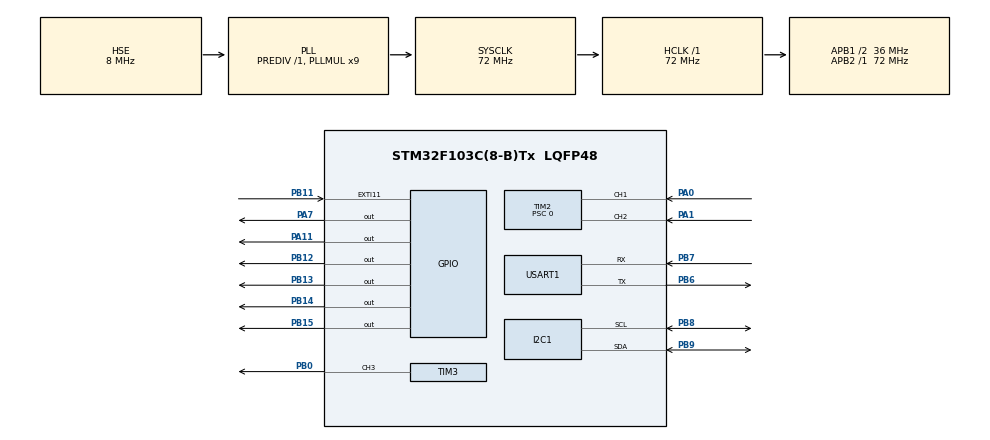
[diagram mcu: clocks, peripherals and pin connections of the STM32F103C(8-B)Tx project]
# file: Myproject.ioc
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Dma.Request0=USART1_RX
Dma.Request1=USART1_TX
Dma.USART1_RX.0.Direction=DMA_PERIPH_TO_MEMORY
Dma.USART1_RX.0.Instance=DMA1_Channel5
Dma.USART1_RX.0.MemDataAlignment=DMA_MDATAALIGN_BYTE
Dma.USART1_RX.0.MemInc=DMA_MINC_ENABLE
Dma.USART1_RX.0.Mode=DMA_NORMAL
Dma.USART1_RX.0.PeriphDataAlignment=DMA_PDATAALIGN_BYTE
Dma.USART1_RX.0.PeriphInc=DMA_PINC_DISABLE
Dma.USART1_RX.0.Priority=DMA_PRIORITY_LOW
Dma.USART1_TX.1.Direction=DMA_MEMORY_TO_PERIPH
Dma.USART1_TX.1.Instance=DMA1_Channel4
Dma.USART1_TX.1.MemDataAlignment=DMA_MDATAALIGN_BYTE
Dma.USART1_TX.1.MemInc=DMA_MINC_ENABLE
Dma.USART1_TX.1.Mode=DMA_NORMAL
Dma.USART1_TX.1.PeriphDataAlignment=DMA_PDATAALIGN_BYTE
Dma.USART1_TX.1.PeriphInc=DMA_PINC_DISABLE
Dma.USART1_TX.1.Priority=DMA_PRIORITY_LOW
I2C1.I2C_Mode=I2C_Fast
Mcu.Family=STM32F1
Mcu.Name=STM32F103C(8-B)Tx
Mcu.Package=LQFP48
NVIC.DMA1_Channel4_IRQn=true\:0\:0\:false\:false\:true\:false\:true\:true
NVIC.DMA1_Channel5_IRQn=true\:0\:0\:false\:false\:true\:false\:true\:true
NVIC.EXTI15_10_IRQn=true\:1\:0\:true\:false\:true\:true\:true\:true
NVIC.PriorityGroup=NVIC_PRIORITYGROUP_4
NVIC.TIM4_IRQn=true\:0\:0\:false\:false\:true\:true\:true\:true
NVIC.USART1_IRQn=true\:0\:0\:false\:false\:true\:true\:true\:true
PA0-WKUP.Signal=S_TIM2_CH1_ETR
PA1.Signal=S_TIM2_CH2
PA11.Signal=GPIO_Output
PA13.Mode=Serial_Wire
PA13.Signal=SYS_JTMS-SWDIO
PA14.Mode=Serial_Wire
PA14.Signal=SYS_JTCK-SWCLK
PA7.GPIO_PuPd=GPIO_PULLDOWN
PA7.Signal=GPIO_Output
PB0.Signal=S_TIM3_CH3
PB11.GPIO_ModeDefaultEXTI=GPIO_MODE_IT_FALLING
PB11.GPIO_PuPd=GPIO_PULLUP
PB11.Signal=GPXTI11
PB12.GPIO_PuPd=GPIO_PULLUP
PB12.PinState=GPIO_PIN_SET
PB12.Signal=GPIO_Output
PB13.PinState=GPIO_PIN_SET
PB13.Signal=GPIO_Output
PB14.Signal=GPIO_Output
PB15.GPIO_ModeDefaultOutputPP=GPIO_MODE_OUTPUT_PP
PB15.GPIO_PuPd=GPIO_PULLUP
PB15.PinState=GPIO_PIN_SET
PB15.Signal=GPIO_Output
PB6.Mode=Asynchronous
PB6.Signal=USART1_TX
PB7.Mode=Asynchronous
PB7.Signal=USART1_RX
PB8.Mode=I2C
PB8.Signal=I2C1_SCL
PB9.Mode=I2C
PB9.Signal=I2C1_SDA
PC14-OSC32_IN.Mode=LSE-External-Oscillator
PC14-OSC32_IN.Signal=RCC_OSC32_IN
PC15-OSC32_OUT.Mode=LSE-External-Oscillator
PC15-OSC32_OUT.Signal=RCC_OSC32_OUT
PD0-OSC_IN.Mode=HSE-External-Oscillator
PD0-OSC_IN.Signal=RCC_OSC_IN
PD1-OSC_OUT.Mode=HSE-External-Oscillator
PD1-OSC_OUT.Signal=RCC_OSC_OUT
ProjectManager.HeapSize=0x200
ProjectManager.StackSize=0x400
ProjectManager.TargetToolchain=STM32CubeIDE
RCC.ADCPresc=RCC_ADCPCLK2_DIV6
RCC.AHBFreq_Value=72000000
RCC.APB1CLKDivider=RCC_HCLK_DIV2
RCC.APB1Freq_Value=36000000
RCC.APB1TimFreq_Value=72000000
RCC.APB2Freq_Value=72000000
RCC.APB2TimFreq_Value=72000000
RCC.HCLKFreq_Value=72000000
RCC.PLLMUL=RCC_PLL_MUL9
RCC.PLLSourceVirtual=RCC_PLLSOURCE_HSE
RCC.SYSCLKFreq_VALUE=72000000
RCC.SYSCLKSource=RCC_SYSCLKSOURCE_PLLCLK
RCC.USBFreq_Value=72000000
SH.S_TIM2_CH1_ETR.0=TIM2_CH1,Encoder_Interface
SH.S_TIM2_CH2.0=TIM2_CH2,Encoder_Interface
SH.S_TIM3_CH3.0=TIM3_CH3,PWM Generation3 CH3
TIM2.EncoderMode=TIM_ENCODERMODE_TI1
TIM2.Period=5000
TIM2.Prescaler=0
TIM3.Channel-PWM\ Generation3\ CH3=TIM_CHANNEL_3
TIM3.Period=1000-1
TIM3.Prescaler=72-1
TIM3.Pulse-PWM\ Generation3\ CH3=0
TIM4.Period=100-1
TIM4.Prescaler=7200-1
USART1.VirtualMode=VM_ASYNC
VP_TIM3_VS_ClockSourceINT.Mode=Internal
VP_TIM4_VS_ClockSourceINT.Mode=Internal
board=custom

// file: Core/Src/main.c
/* USER CODE BEGIN Header */
/**
  ******************************************************************************
  * @file           : main.c
  * @brief          : Main program body
  ******************************************************************************
  * @attention
  *
  * Copyright (c) 2025 STMicroelectronics.
  * All rights reserved.
  *
  * This software is licensed under terms that can be found in the LICENSE file
  * in the root directory of this software component.
  * If no LICENSE file comes with this software, it is provided AS-IS.
  *
  ******************************************************************************
  */
/* USER CODE END Header */
#include "main.h"
#include "dma.h"
#include "i2c.h"
#include "tim.h"
#include "usart.h"
#include "gpio.h"

/* USER CODE BEGIN Includes */
#include "oled.h"
#include "stdio.h"
#include "pid.h"
#include "string.h"
#include "math.h"
#include <stdlib.h>
/* USER CODE END Includes */

/* USER CODE BEGIN PV */

char message[256];
uint8_t rx_data[256]="" ;
uint32_t encoder=0;
PID_InitDefStruct pidL;  // 定义全局变量 pidL
PID_InitDefStruct pidR;  // 定义全局变量 pidR

/* USER CODE END PV */

void SystemClock_Config(void);

/* USER CODE BEGIN 0 */
void HAL_GPIO_EXTI_Callback(uint16_t GPIO_Pin){

	if(GPIO_Pin==GPIO_PIN_11){

		}

}

	void HAL_TIM_PeriodElapsedCallback(TIM_HandleTypeDef *htim){
	if(htim==&htim4){
		encoder=__HAL_TIM_GET_COUNTER(&htim2)*5;
		Velocity_PID(pidL.Velcity_Target,encoder,&pidL);
        __HAL_TIM_SetCompare(&htim3,TIM_CHANNEL_3,pidL.PWM);
        sprintf(message,"%d,%ld,%d\n",pidL.Velcity_Target,encoder,pidL.PWM);
        HAL_UART_Transmit_DMA(&huart1, (uint8_t*)message, strlen(message));
        __HAL_TIM_SET_COUNTER(&htim2,0);
	}
}

void HAL_UARTEx_RxEventCallback(UART_HandleTypeDef *huart, uint16_t Size){   //接受不定长
	if(huart==&huart1){

    int num = atoi((char*)rx_data);
    sprintf(message,"%d\n",num);
    HAL_UART_Transmit_DMA(&huart1, (uint8_t*)message, strlen(message));
    pidL.Velcity_Target=num;
    HAL_UARTEx_ReceiveToIdle_DMA(&huart1, rx_data, sizeof(rx_data));
    __HAL_DMA_DISABLE_IT(huart1.hdmarx, DMA_IT_HT);  // 禁用半传输中断
	}

}

/* USER CODE END 0 */

int main(void)
{

  /* USER CODE BEGIN 1 */
PID_Init(&pidL,10,2,3,pidL.Velcity_Target);

  /* USER CODE END 1 */

  /* MCU Configuration--------------------------------------------------------*/

  /* Reset of all peripherals, Initializes the Flash interface and the Systick. */
  HAL_Init();

  /* Configure the system clock */
  SystemClock_Config();

  /* Initialize all configured peripherals */
  MX_GPIO_Init();
  MX_DMA_Init();
  MX_I2C1_Init();
  MX_USART1_UART_Init();
  MX_TIM3_Init();
  MX_TIM2_Init();
  MX_TIM4_Init();
  /* USER CODE BEGIN 2 */
  OLED_Init();
  HAL_UARTEx_ReceiveToIdle_DMA(&huart1, rx_data,sizeof(rx_data));   //开启接受不定长
  __HAL_DMA_DISABLE_IT(huart1.hdmarx, DMA_IT_HT);          //关闭接受半中断
  HAL_TIM_PWM_Start(&htim3, TIM_CHANNEL_3);
  HAL_TIM_Encoder_Start(&htim2, TIM_CHANNEL_ALL);
  HAL_TIM_Base_Start_IT(&htim4);
  /* USER CODE END 2 */

  /* Infinite loop */
  while (1)
  {

  }
}

void SystemClock_Config(void)
{
  RCC_OscInitTypeDef RCC_OscInitStruct = {0};
  RCC_ClkInitTypeDef RCC_ClkInitStruct = {0};

  /** Initializes the RCC Oscillators according to the specified parameters
  * in the RCC_OscInitTypeDef structure.
  */
  RCC_OscInitStruct.OscillatorType = RCC_OSCILLATORTYPE_HSE;
  RCC_OscInitStruct.HSEState = RCC_HSE_ON;
  RCC_OscInitStruct.HSEPredivValue = RCC_HSE_PREDIV_DIV1;
  RCC_OscInitStruct.HSIState = RCC_HSI_ON;
  RCC_OscInitStruct.PLL.PLLState = RCC_PLL_ON;
  RCC_OscInitStruct.PLL.PLLSource = RCC_PLLSOURCE_HSE;
  RCC_OscInitStruct.PLL.PLLMUL = RCC_PLL_MUL9;
  if (HAL_RCC_OscConfig(&RCC_OscInitStruct) != HAL_OK)
  {
    Error_Handler();
  }

  /** Initializes the CPU, AHB and APB buses clocks
  */
  RCC_ClkInitStruct.ClockType = RCC_CLOCKTYPE_HCLK|RCC_CLOCKTYPE_SYSCLK
                              |RCC_CLOCKTYPE_PCLK1|RCC_CLOCKTYPE_PCLK2;
  RCC_ClkInitStruct.SYSCLKSource = RCC_SYSCLKSOURCE_PLLCLK;
  RCC_ClkInitStruct.AHBCLKDivider = RCC_SYSCLK_DIV1;
  RCC_ClkInitStruct.APB1CLKDivider = RCC_HCLK_DIV2;
  RCC_ClkInitStruct.APB2CLKDivider = RCC_HCLK_DIV1;

  if (HAL_RCC_ClockConfig(&RCC_ClkInitStruct, FLASH_LATENCY_2) != HAL_OK)
  {
    Error_Handler();
  }
}

void Error_Handler(void)
{
  __disable_irq();
  while (1)
  {
  }
}
